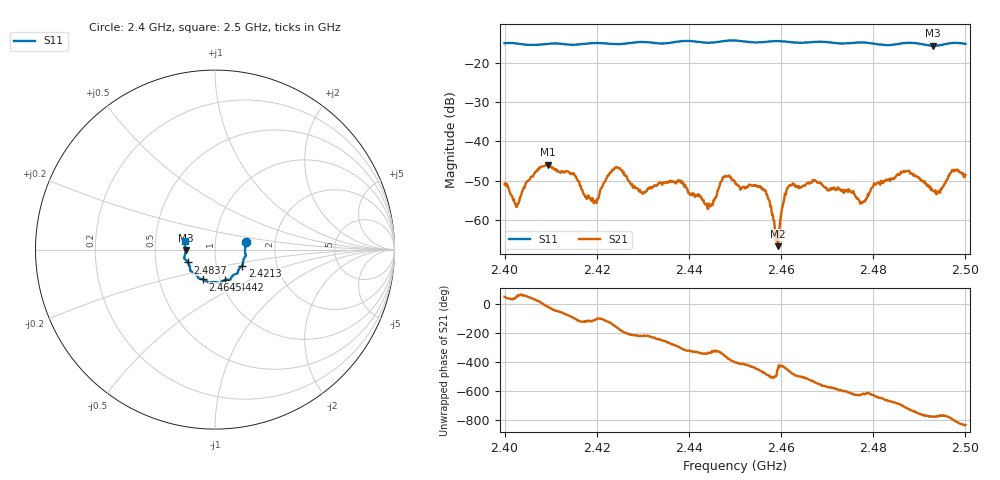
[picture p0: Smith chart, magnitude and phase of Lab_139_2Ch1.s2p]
# Hz S RI R 50
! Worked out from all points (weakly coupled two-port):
!   601 points, 2.4 GHz to 2.5 GHz, reference 50 ohm
!   highest |S21| = -45.91 dB at 2.4093 GHz (marker M1); lowest = -66.5 dB at 2.4593 GHz (marker M2)
!   lowest |S11| = -15.7 dB at 2.493 GHz (marker M3), VSWR 1.39, Z = 35.9 - j0.203 ohm
!   |S11| at or under -10 dB: start of sweep to end of sweep
!   S12 and S22 are empty: the file has one direction only
!   S11 on the Smith chart (normalised r, x): 2.4 GHz: 1.41, +0.12; 2.4213 GHz: 1.33, -0.25; 2.4442 GHz: 1.05, -0.37; 2.4645 GHz: 0.83, -0.29; 2.4837 GHz: 0.73, -0.11; 2.5 GHz: 0.71, +0.07
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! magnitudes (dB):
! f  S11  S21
! 2.4 GHz  -15.1  -50.8
! 2.4027 GHz  -15.1  -56.6
! 2.4093 GHz  -15.2  -45.9
! 2.4167 GHz  -15.3  -52.1
! 2.4198 GHz  -15.0  -55.0
! 2.4213 GHz  -15.1  -51.1
! 2.4243 GHz  -15.3  -46.6
! 2.4297 GHz  -14.8  -52.9
! 2.4333 GHz  -15.1  -50.9
! 2.4442 GHz  -15.0  -57.1
! 2.4477 GHz  -14.5  -48.9
! 2.45 GHz  -14.4  -50.4
! 2.4563 GHz  -14.8  -52.3
! 2.4593 GHz  -14.5  -66.5
! 2.4613 GHz  -14.7  -51.9
! 2.4645 GHz  -15.0  -51.6
! 2.4667 GHz  -14.8  -50.5
! 2.4777 GHz  -14.9  -55.5
! 2.4833 GHz  -15.6  -49.8
! 2.4837 GHz  -15.5  -50.0
! 2.493 GHz  -15.7  -52.5
! 2.5 GHz  -15.3  -48.5
